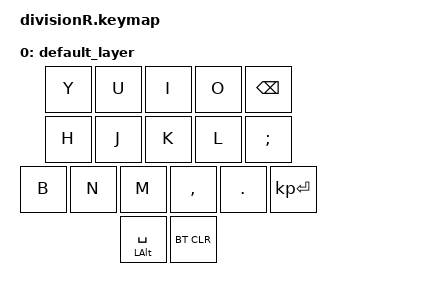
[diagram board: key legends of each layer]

#include <behaviors.dtsi>
#include <dt-bindings/zmk/keys.h>
#include <dt-bindings/zmk/bt.h>
#include <dt-bindings/zmk/ext_power.h>

/ {
    keymap {
        compatible = "zmk,keymap";

        default_layer {
            bindings = <
            &kp Y           &kp U        &kp I        &kp O            &kp BSPC  
            &kp H         &kp J         &kp K         &kp L           &kp SEMI   
            &kp B       &kp N     &kp M     &kp COMMA   &kp DOT    &kp KP_ENTER
            &mt LALT SPACE    &bt BT_CLR
            >;
        
        };
    };
};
